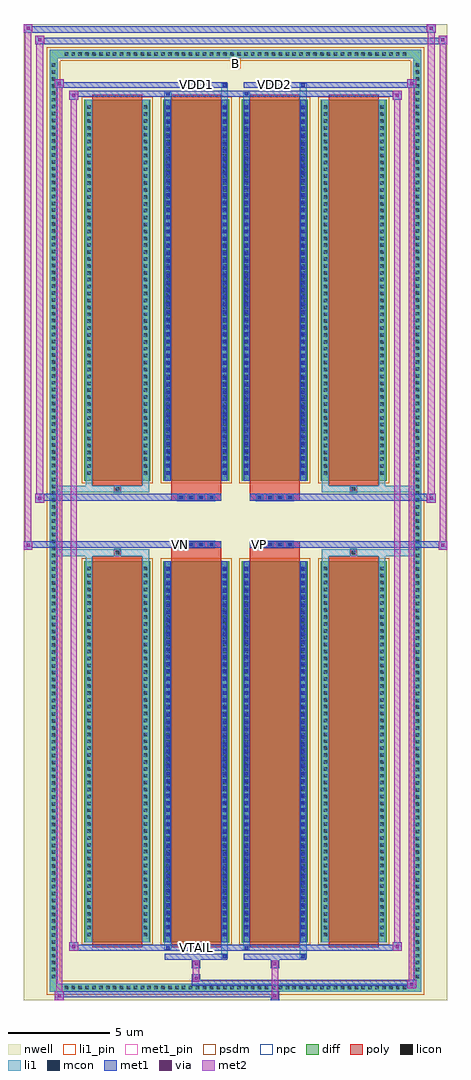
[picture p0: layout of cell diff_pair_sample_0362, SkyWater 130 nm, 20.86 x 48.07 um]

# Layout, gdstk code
import gdstk
lib = gdstk.Library(unit=1e-6, precision=5e-09)
def R(c, l, rs):  # rectangles x0, y0, x1, y1
    for r in rs: c.add(gdstk.rectangle(r[:2], r[2:], *l))
def A(c, l, x, y, w, h, nx, ny, dx, dy):  # array of equal rectangles
    R(c, l, [(x+i*dx, y+j*dy, x+i*dx+w, y+j*dy+h) for i in range(nx) for j in range(ny)])
def P(c, l, *ps):  # polygons
    for p in ps: c.add(gdstk.Polygon(p, *l))
nwell = (64, 20)
diff = (65, 20)
poly = (66, 20)
licon = (66, 44)
li1_pin = (67, 16)
li1 = (67, 20)
mcon = (67, 44)
met1_pin = (68, 16)
met1 = (68, 20)
via = (68, 44)
met2 = (69, 20)
psdm = (94, 20)
npc = (95, 20)

diff_pair_sample_0362 = lib.new_cell('diff_pair_sample_0362')
R(diff_pair_sample_0362, nwell, [(-10.43,-23.6,10.43,24.47), (-7.75,-21.79,-0.01,-0.795), (0.01,-21.79,7.75,-0.795), (-7.75,0.795,-0.01,21.79), (0.01,0.795,7.75,21.79)])
A(diff_pair_sample_0362, diff, -8.535, -23.2, 0.41, 0.41, 50, 2, 0.34, 45.99)
A(diff_pair_sample_0362, diff, -9.16, -22.645, 0.41, 0.41, 1, 133, 0, 0.34)
A(diff_pair_sample_0362, diff, 8.75, -22.645, 0.41, 0.41, 1, 133, 0, 0.34)
A(diff_pair_sample_0362, diff, -7.44, -20.745, 3.24, 18.76, 4, 2, 3.88, 22.73)
R(diff_pair_sample_0362, diff, [(-8.535,-23.2,8.535,-22.79), (-9.16,-22.645,-8.75,22.645), (8.75,-22.645,9.16,22.645), (-8.535,22.79,8.535,23.2)])
P(diff_pair_sample_0362, diff, [(9.16,23.2),(-9.16,23.2),(-9.16,-22.79),(-8.75,-22.79),(-8.75,22.79),(8.75,22.79),(8.75,-22.79),(-8.75,-22.79),(-9.16,-22.79),(-9.16,-23.2),(9.16,-23.2)])
A(diff_pair_sample_0362, poly, -7.05, -20.995, 2.46, 19.26, 4, 2, 3.88, 22.73)
A(diff_pair_sample_0362, poly, -2.855, -1.325, 0.33, 0.33, 4, 2, 0.5, 2.32)
A(diff_pair_sample_0362, poly, 1.025, -1.325, 0.33, 0.33, 4, 2, 0.5, 2.32)
R(diff_pair_sample_0362, poly, [(-5.985,-1.735,-5.655,-1.405), (-5.985,-1.735,-5.655,-1.405), (-3.17,-1.735,-0.71,-1.325), (0.71,-1.735,3.17,-1.325), (5.655,-1.735,5.985,-1.405), (5.655,-1.735,5.985,-1.405), (-3.17,-1.325,-0.71,-0.995), (0.71,-1.325,3.17,-0.995), (-3.17,0.995,-0.71,1.325), (0.71,0.995,3.17,1.325), (-3.17,1.325,-0.71,1.735), (0.71,1.325,3.17,1.735), (-5.985,1.405,-5.655,1.735), (-5.985,1.405,-5.655,1.735), (5.655,1.405,5.985,1.735), (5.655,1.405,5.985,1.735)])
A(diff_pair_sample_0362, licon, -8.415, -23.08, 0.17, 0.17, 50, 2, 0.34, 45.99)
A(diff_pair_sample_0362, licon, -9.04, -22.525, 0.17, 0.17, 1, 133, 0, 0.34)
A(diff_pair_sample_0362, licon, 8.87, -22.525, 0.17, 0.17, 1, 133, 0, 0.34)
A(diff_pair_sample_0362, licon, -7.3, -20.46, 0.17, 0.17, 1, 54, 0, 0.34)
A(diff_pair_sample_0362, licon, -4.51, -20.46, 0.17, 0.17, 1, 54, 0, 0.34)
A(diff_pair_sample_0362, licon, -3.42, -20.46, 0.17, 0.17, 1, 54, 0, 0.34)
A(diff_pair_sample_0362, licon, -0.63, -20.46, 0.17, 0.17, 1, 54, 0, 0.34)
A(diff_pair_sample_0362, licon, 0.46, -20.46, 0.17, 0.17, 1, 54, 0, 0.34)
A(diff_pair_sample_0362, licon, 3.25, -20.46, 0.17, 0.17, 1, 54, 0, 0.34)
A(diff_pair_sample_0362, licon, 4.34, -20.46, 0.17, 0.17, 1, 54, 0, 0.34)
A(diff_pair_sample_0362, licon, 7.13, -20.46, 0.17, 0.17, 1, 54, 0, 0.34)
A(diff_pair_sample_0362, licon, -2.775, -1.245, 0.17, 0.17, 4, 2, 0.5, 2.32)
A(diff_pair_sample_0362, licon, 1.105, -1.245, 0.17, 0.17, 4, 2, 0.5, 2.32)
A(diff_pair_sample_0362, licon, -7.3, 2.27, 0.17, 0.17, 1, 54, 0, 0.34)
A(diff_pair_sample_0362, licon, -4.51, 2.27, 0.17, 0.17, 1, 54, 0, 0.34)
A(diff_pair_sample_0362, licon, -3.42, 2.27, 0.17, 0.17, 1, 54, 0, 0.34)
A(diff_pair_sample_0362, licon, -0.63, 2.27, 0.17, 0.17, 1, 54, 0, 0.34)
A(diff_pair_sample_0362, licon, 0.46, 2.27, 0.17, 0.17, 1, 54, 0, 0.34)
A(diff_pair_sample_0362, licon, 3.25, 2.27, 0.17, 0.17, 1, 54, 0, 0.34)
A(diff_pair_sample_0362, licon, 4.34, 2.27, 0.17, 0.17, 1, 54, 0, 0.34)
A(diff_pair_sample_0362, licon, 7.13, 2.27, 0.17, 0.17, 1, 54, 0, 0.34)
R(diff_pair_sample_0362, licon, [(-5.905,-1.655,-5.735,-1.485), (5.735,-1.655,5.905,-1.485), (-5.905,1.485,-5.735,1.655), (5.735,1.485,5.905,1.655)])
R(diff_pair_sample_0362, li1_pin, [(-0.25,22.29,0.25,22.79)])
A(diff_pair_sample_0362, li1, -8.495, -23.16, 0.33, 0.33, 50, 2, 0.34, 45.99)
A(diff_pair_sample_0362, li1, -9.12, -22.605, 0.33, 0.33, 1, 133, 0, 0.34)
A(diff_pair_sample_0362, li1, 8.79, -22.605, 0.33, 0.33, 1, 133, 0, 0.34)
A(diff_pair_sample_0362, li1, -7.38, -20.54, 0.33, 0.33, 1, 54, 0, 0.34)
A(diff_pair_sample_0362, li1, -4.59, -20.54, 0.33, 0.33, 1, 54, 0, 0.34)
A(diff_pair_sample_0362, li1, -3.5, -20.54, 0.33, 0.33, 1, 54, 0, 0.34)
A(diff_pair_sample_0362, li1, -0.71, -20.54, 0.33, 0.33, 1, 54, 0, 0.34)
A(diff_pair_sample_0362, li1, 0.38, -20.54, 0.33, 0.33, 1, 54, 0, 0.34)
A(diff_pair_sample_0362, li1, 3.17, -20.54, 0.33, 0.33, 1, 54, 0, 0.34)
A(diff_pair_sample_0362, li1, 4.26, -20.54, 0.33, 0.33, 1, 54, 0, 0.34)
A(diff_pair_sample_0362, li1, 7.05, -20.54, 0.33, 0.33, 1, 54, 0, 0.34)
A(diff_pair_sample_0362, li1, -3.42, -20.45, 0.17, 0.17, 1, 51, 0, 0.36)
A(diff_pair_sample_0362, li1, -0.63, -20.45, 0.17, 0.17, 1, 51, 0, 0.36)
A(diff_pair_sample_0362, li1, 0.46, -20.45, 0.17, 0.17, 1, 51, 0, 0.36)
A(diff_pair_sample_0362, li1, 3.25, -20.45, 0.17, 0.17, 1, 51, 0, 0.36)
A(diff_pair_sample_0362, li1, -2.855, -1.325, 0.33, 0.33, 4, 2, 0.5, 2.32)
A(diff_pair_sample_0362, li1, 1.025, -1.325, 0.33, 0.33, 4, 2, 0.5, 2.32)
A(diff_pair_sample_0362, li1, -7.38, 2.19, 0.33, 0.33, 1, 54, 0, 0.34)
A(diff_pair_sample_0362, li1, -4.59, 2.19, 0.33, 0.33, 1, 54, 0, 0.34)
A(diff_pair_sample_0362, li1, -3.5, 2.19, 0.33, 0.33, 1, 54, 0, 0.34)
A(diff_pair_sample_0362, li1, -0.71, 2.19, 0.33, 0.33, 1, 54, 0, 0.34)
A(diff_pair_sample_0362, li1, 0.38, 2.19, 0.33, 0.33, 1, 54, 0, 0.34)
A(diff_pair_sample_0362, li1, 3.17, 2.19, 0.33, 0.33, 1, 54, 0, 0.34)
A(diff_pair_sample_0362, li1, 4.26, 2.19, 0.33, 0.33, 1, 54, 0, 0.34)
A(diff_pair_sample_0362, li1, 7.05, 2.19, 0.33, 0.33, 1, 54, 0, 0.34)
A(diff_pair_sample_0362, li1, -3.42, 2.28, 0.17, 0.17, 1, 51, 0, 0.36)
A(diff_pair_sample_0362, li1, -0.63, 2.28, 0.17, 0.17, 1, 51, 0, 0.36)
A(diff_pair_sample_0362, li1, 0.46, 2.28, 0.17, 0.17, 1, 51, 0, 0.36)
A(diff_pair_sample_0362, li1, 3.25, 2.28, 0.17, 0.17, 1, 51, 0, 0.36)
R(diff_pair_sample_0362, li1, [(-9.16,-23.2,-8.75,-22.79), (-9.16,-23.2,-8.75,-22.79), (-8.75,-23.2,8.75,-22.79), (8.75,-23.2,9.16,-22.79), (8.75,-23.2,9.16,-22.79), (-9.16,-22.79,-8.75,22.79), (8.75,-22.79,9.16,22.79), (-0.71,-21.55,-0.38,-20.745), (-0.63,-21.55,-0.46,-21.38), (3.17,-21.55,3.5,-20.745), (3.25,-21.55,3.42,-21.38), (-3.5,-21.12,-3.17,-20.745), (-3.42,-21.12,-3.25,-20.95), (0.38,-21.12,0.71,-20.745), (0.46,-21.12,0.63,-20.95), (-7.38,-20.745,-7.05,-1.985), (-4.59,-20.745,-4.26,-1.985), (-3.5,-20.745,-3.17,-1.985), (-0.71,-20.745,-0.38,-1.985), (0.38,-20.745,0.71,-1.985), (3.17,-20.745,3.5,-1.985), (4.26,-20.745,4.59,-1.985), (7.05,-20.745,7.38,-1.985), (-3.42,-20.45,-3.25,-2.28), (-0.63,-20.45,-0.46,-2.28), (0.46,-20.45,0.63,-2.28), (3.25,-20.45,3.42,-2.28), (-7.38,-1.985,-7.05,-1.405), (-4.59,-1.985,-4.26,-1.405), (4.26,-1.985,4.59,-1.405), (7.05,-1.985,7.38,-1.405), (-9.16,-1.735,-5.985,-1.405), (-7.38,-1.735,-5.985,-1.405), (-5.985,-1.735,-5.655,-1.405), (-5.655,-1.735,-4.26,-1.405), (4.26,-1.735,5.655,-1.405), (5.655,-1.735,5.985,-1.405), (5.655,-1.735,9.16,-1.405), (5.985,-1.735,7.38,-1.405), (-9.16,1.405,-5.985,1.735), (-7.38,1.405,-5.985,1.735), (-7.38,1.405,-7.05,1.985), (-5.985,1.405,-5.655,1.735), (-5.655,1.405,-4.26,1.735), (-4.59,1.405,-4.26,1.985), (4.26,1.405,5.655,1.735), (4.26,1.405,4.59,1.985), (5.655,1.405,5.985,1.735), (5.655,1.405,9.16,1.735), (5.985,1.405,7.38,1.735), (7.05,1.405,7.38,1.985), (-7.38,1.985,-7.05,20.745), (-4.59,1.985,-4.26,20.745), (-3.5,1.985,-3.17,20.745), (-0.71,1.985,-0.38,20.745), (0.38,1.985,0.71,20.745), (3.17,1.985,3.5,20.745), (4.26,1.985,4.59,20.745), (7.05,1.985,7.38,20.745), (-3.42,2.28,-3.25,20.45), (-0.63,2.28,-0.46,20.45), (0.46,2.28,0.63,20.45), (3.25,2.28,3.42,20.45), (-3.5,20.745,-3.17,21.12), (-0.71,20.745,-0.38,21.55), (0.38,20.745,0.71,21.12), (3.17,20.745,3.5,21.55), (-3.42,20.95,-3.25,21.12), (0.46,20.95,0.63,21.12), (-0.63,21.38,-0.46,21.55), (3.25,21.38,3.42,21.55), (-9.16,22.79,-8.75,23.2), (-9.16,22.79,-8.75,23.2), (-8.75,22.79,8.75,23.2), (8.75,22.79,9.16,23.2), (8.75,22.79,9.16,23.2)])
A(diff_pair_sample_0362, mcon, -3.42, -20.45, 0.17, 0.17, 1, 51, 0, 0.36)
A(diff_pair_sample_0362, mcon, -0.63, -20.45, 0.17, 0.17, 1, 51, 0, 0.36)
A(diff_pair_sample_0362, mcon, 0.46, -20.45, 0.17, 0.17, 1, 51, 0, 0.36)
A(diff_pair_sample_0362, mcon, 3.25, -20.45, 0.17, 0.17, 1, 51, 0, 0.36)
A(diff_pair_sample_0362, mcon, -2.775, -1.245, 0.17, 0.17, 4, 2, 0.5, 2.32)
A(diff_pair_sample_0362, mcon, 1.105, -1.245, 0.17, 0.17, 4, 2, 0.5, 2.32)
A(diff_pair_sample_0362, mcon, -3.42, 2.28, 0.17, 0.17, 1, 51, 0, 0.36)
A(diff_pair_sample_0362, mcon, -0.63, 2.28, 0.17, 0.17, 1, 51, 0, 0.36)
A(diff_pair_sample_0362, mcon, 0.46, 2.28, 0.17, 0.17, 1, 51, 0, 0.36)
A(diff_pair_sample_0362, mcon, 3.25, 2.28, 0.17, 0.17, 1, 51, 0, 0.36)
R(diff_pair_sample_0362, mcon, [(-0.63,-21.55,-0.46,-21.38), (3.25,-21.55,3.42,-21.38), (-3.42,-21.12,-3.25,-20.95), (0.46,-21.12,0.63,-20.95), (-3.42,20.95,-3.25,21.12), (0.46,20.95,0.63,21.12), (-0.63,21.38,-0.46,21.55), (3.25,21.38,3.42,21.55)])
R(diff_pair_sample_0362, met1_pin, [(-2.075,-21.16,-1.805,-20.89), (-2.825,-1.285,-2.555,-1.015), (1.055,-1.285,1.325,-1.015), (-2.075,21.34,-1.805,21.61), (1.805,21.34,2.075,21.61)])
A(diff_pair_sample_0362, met1, -3.48, -20.51, 0.29, 0.29, 1, 51, 0, 0.36)
A(diff_pair_sample_0362, met1, -0.69, -20.51, 0.29, 0.29, 1, 51, 0, 0.36)
A(diff_pair_sample_0362, met1, 0.4, -20.51, 0.29, 0.29, 1, 51, 0, 0.36)
A(diff_pair_sample_0362, met1, 3.19, -20.51, 0.29, 0.29, 1, 51, 0, 0.36)
A(diff_pair_sample_0362, met1, -2.835, -1.305, 0.29, 0.29, 4, 2, 0.5, 2.32)
A(diff_pair_sample_0362, met1, 1.045, -1.305, 0.29, 0.29, 4, 2, 0.5, 2.32)
A(diff_pair_sample_0362, met1, -3.48, 2.22, 0.29, 0.29, 1, 51, 0, 0.36)
A(diff_pair_sample_0362, met1, -0.69, 2.22, 0.29, 0.29, 1, 51, 0, 0.36)
A(diff_pair_sample_0362, met1, 0.4, 2.22, 0.29, 0.29, 1, 51, 0, 0.36)
A(diff_pair_sample_0362, met1, 3.19, 2.22, 0.29, 0.29, 1, 51, 0, 0.36)
R(diff_pair_sample_0362, met1, [(-8.89,-23.6,-8.46,-23.17), (1.725,-23.6,2.155,-23.17), (-8.89,-23.46,2.155,-23.17), (8.46,-23.03,8.89,-22.6), (-2.155,-22.89,8.89,-22.6), (-2.155,-22.75,-1.725,-22.32), (-2.155,-22.04,-1.725,-21.61), (1.725,-22.04,2.155,-21.61), (-3.48,-21.61,-0.4,-21.32), (-0.69,-21.61,-0.4,-21.32), (0.4,-21.61,3.48,-21.32), (3.19,-21.61,3.48,-21.32), (-8.18,-21.18,-7.75,-20.75), (-8.18,-21.18,-3.48,-20.89), (-3.48,-21.18,-3.19,-20.89), (-3.48,-21.18,-0.4,-20.89), (-0.4,-21.18,0.4,-20.89), (0.4,-21.18,0.69,-20.89), (0.4,-21.18,3.48,-20.89), (3.48,-21.18,8.18,-20.89), (7.75,-21.18,8.18,-20.75), (-3.48,-20.745,-3.19,-1.985), (-0.69,-20.745,-0.4,-1.985), (0.4,-20.745,0.69,-1.985), (3.19,-20.745,3.48,-1.985), (-10.43,-1.425,-10,-0.995), (10,-1.425,10.43,-0.995), (-10.43,-1.325,-0.71,-0.995), (-3.17,-1.325,-0.71,-0.995), (0.71,-1.325,3.17,-0.995), (0.71,-1.325,10.43,-0.995), (-9.86,0.895,-9.43,1.325), (9.43,0.895,9.86,1.325), (-9.86,0.995,-3.17,1.325), (-3.17,0.995,-0.71,1.325), (0.71,0.995,3.17,1.325), (3.17,0.995,9.86,1.325), (-3.48,1.985,-3.19,20.745), (-0.69,1.985,-0.4,20.745), (0.4,1.985,0.69,20.745), (3.19,1.985,3.48,20.745), (-8.18,20.75,-7.75,21.18), (7.75,20.75,8.18,21.18), (-8.18,20.89,-3.48,21.18), (-3.48,20.89,-3.19,21.18), (-3.48,20.89,-0.4,21.18), (-0.4,20.89,0.4,21.18), (0.4,20.89,0.69,21.18), (0.4,20.89,3.48,21.18), (3.48,20.89,8.18,21.18), (-8.89,21.32,-8.46,21.75), (-8.89,21.32,-3.48,21.61), (-3.48,21.32,-0.4,21.61), (-0.69,21.32,-0.4,21.61), (0.4,21.32,3.48,21.61), (3.19,21.32,3.48,21.61), (3.48,21.32,8.89,21.61), (8.46,21.32,8.89,21.75), (-9.86,23.47,-9.43,23.9), (-9.86,23.47,-7.75,23.8), (-7.75,23.47,7.75,23.8), (7.75,23.47,10.43,23.8), (10,23.47,10.43,23.9), (-10.43,24.04,-10,24.47), (-10.43,24.04,-7.75,24.37), (-7.75,24.04,7.75,24.37), (7.75,24.04,9.86,24.37), (9.43,24.04,9.86,24.47)])
R(diff_pair_sample_0362, via, [(-8.75,-23.46,-8.6,-23.31), (1.865,-23.46,2.015,-23.31), (8.6,-22.89,8.75,-22.74), (-2.015,-22.61,-1.865,-22.46), (-2.015,-21.9,-1.865,-21.75), (1.865,-21.9,2.015,-21.75), (-8.04,-21.04,-7.89,-20.89), (7.89,-21.04,8.04,-20.89), (-10.29,-1.285,-10.14,-1.135), (10.14,-1.285,10.29,-1.135), (-9.72,1.035,-9.57,1.185), (9.57,1.035,9.72,1.185), (-8.04,20.89,-7.89,21.04), (7.89,20.89,8.04,21.04), (-8.75,21.46,-8.6,21.61), (8.6,21.46,8.75,21.61), (-9.72,23.61,-9.57,23.76), (10.14,23.61,10.29,23.76), (-10.29,24.18,-10.14,24.33), (9.57,24.18,9.72,24.33)])
R(diff_pair_sample_0362, met2, [(-8.89,-23.6,-8.46,-23.17), (-8.82,-23.6,-8.53,21.75), (-8.53,-23.6,-8.46,-23.17), (-8.84,-23.55,-8.51,-23.22), (1.775,-23.55,2.105,-23.22), (1.775,-23.22,2.105,-21.99), (8.46,-23.03,8.89,-22.6), (8.53,-23.03,8.82,21.75), (8.82,-23.03,8.89,-22.6), (8.51,-22.98,8.84,-22.65), (-2.105,-22.7,-1.775,-22.37), (-2.105,-22.37,-1.775,-21.99), (-2.105,-21.99,-1.775,-21.66), (1.775,-21.99,2.105,-21.66), (-8.18,-21.18,-7.75,-20.75), (-8.11,-21.18,-7.82,21.18), (-7.82,-21.18,-7.75,-20.75), (7.75,-21.18,8.18,-20.75), (7.82,-21.18,8.11,21.18), (8.11,-21.18,8.18,-20.75), (-8.13,-21.13,-7.8,-20.8), (7.8,-21.13,8.13,-20.8), (-10.43,-1.425,-10,-0.995), (-10.38,-1.425,-10.05,24.47), (-10.05,-1.425,-10,-0.995), (10,-1.425,10.43,-0.995), (10.05,-1.425,10.38,23.9), (10.38,-1.425,10.43,-0.995), (-10.38,-1.375,-10.05,-1.045), (10.05,-1.375,10.38,-1.045), (-9.86,0.895,-9.43,1.325), (-9.81,0.895,-9.48,23.9), (-9.48,0.895,-9.43,1.325), (9.43,0.895,9.86,1.325), (9.48,0.895,9.81,24.47), (9.81,0.895,9.86,1.325), (-9.81,0.945,-9.48,1.275), (9.48,0.945,9.81,1.275), (-8.18,20.75,-7.75,21.18), (-7.82,20.75,-7.75,21.18), (7.75,20.75,8.18,21.18), (8.11,20.75,8.18,21.18), (-8.13,20.8,-7.8,21.13), (7.8,20.8,8.13,21.13), (-8.89,21.32,-8.46,21.75), (-8.53,21.32,-8.46,21.75), (8.46,21.32,8.89,21.75), (8.82,21.32,8.89,21.75), (-8.84,21.37,-8.51,21.7), (8.51,21.37,8.84,21.7), (-9.86,23.47,-9.43,23.9), (-9.48,23.47,-9.43,23.9), (10,23.47,10.43,23.9), (10.38,23.47,10.43,23.9), (-9.81,23.52,-9.48,23.85), (10.05,23.52,10.38,23.85), (-10.43,24.04,-10,24.47), (-10.05,24.04,-10,24.47), (9.43,24.04,9.86,24.47), (9.81,24.04,9.86,24.47), (-10.38,24.09,-10.05,24.42), (9.48,24.09,9.81,24.42)])
A(diff_pair_sample_0362, psdm, -7.57, -20.875, 3.5, 19.02, 4, 2, 3.88, 22.73)
P(diff_pair_sample_0362, psdm, [(9.29,23.33),(-9.29,23.33),(-9.29,-22.66),(-8.62,-22.66),(-8.62,22.66),(8.62,22.66),(8.62,-22.66),(-8.62,-22.66),(-9.29,-22.66),(-9.29,-23.33),(9.29,-23.33)])
A(diff_pair_sample_0362, npc, -2.875, -1.345, 0.37, 0.37, 4, 2, 0.5, 2.32)
A(diff_pair_sample_0362, npc, 1.005, -1.345, 0.37, 0.37, 4, 2, 0.5, 2.32)
R(diff_pair_sample_0362, npc, [(-6.005,-1.755,-5.635,-1.385), (5.635,-1.755,6.005,-1.385), (-2.875,-1.345,-2.005,-0.975), (-2.875,-1.345,-2.005,-0.975), (-2.375,-1.345,-1.505,-0.975), (-2.375,-1.345,-1.505,-0.975), (-1.875,-1.345,-1.005,-0.975), (-1.875,-1.345,-1.005,-0.975), (1.005,-1.345,1.875,-0.975), (1.005,-1.345,1.875,-0.975), (1.505,-1.345,2.375,-0.975), (1.505,-1.345,2.375,-0.975), (2.005,-1.345,2.875,-0.975), (2.005,-1.345,2.875,-0.975), (-2.875,0.975,-2.005,1.345), (-2.875,0.975,-2.005,1.345), (-2.375,0.975,-1.505,1.345), (-2.375,0.975,-1.505,1.345), (-1.875,0.975,-1.005,1.345), (-1.875,0.975,-1.005,1.345), (1.005,0.975,1.875,1.345), (1.005,0.975,1.875,1.345), (1.505,0.975,2.375,1.345), (1.505,0.975,2.375,1.345), (2.005,0.975,2.875,1.345), (2.005,0.975,2.875,1.345), (-6.005,1.385,-5.635,1.755), (5.635,1.385,6.005,1.755)])
diff_pair_sample_0362.add(gdstk.Label('VTAIL', (-1.94,-21.025), layer=68, texttype=5))
diff_pair_sample_0362.add(gdstk.Label('VN', (-2.69,-1.15), layer=68, texttype=5))
diff_pair_sample_0362.add(gdstk.Label('VP', (1.19,-1.15), layer=68, texttype=5))
diff_pair_sample_0362.add(gdstk.Label('B', (0,22.54), layer=67, texttype=5))
diff_pair_sample_0362.add(gdstk.Label('VDD2', (1.94,21.475), layer=68, texttype=5))
diff_pair_sample_0362.add(gdstk.Label('VDD1', (-1.94,21.475), layer=68, texttype=5))

lib.write_gds('diff_pair_sample_0362.gds')
